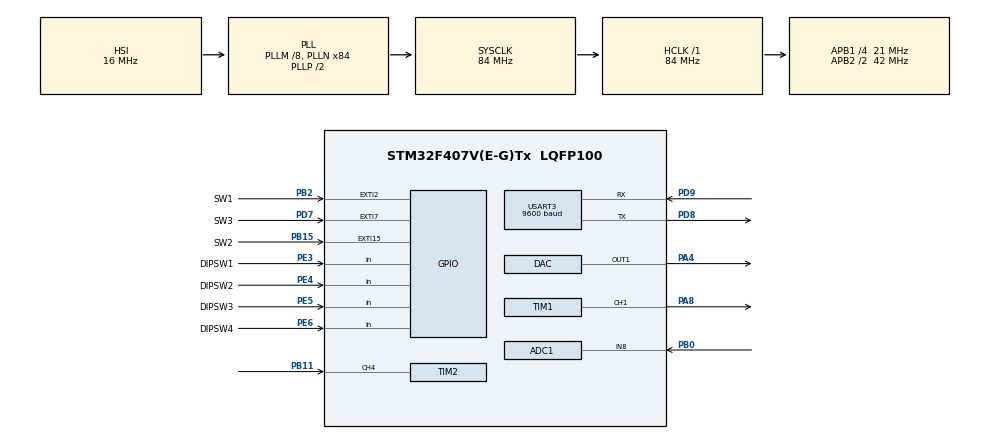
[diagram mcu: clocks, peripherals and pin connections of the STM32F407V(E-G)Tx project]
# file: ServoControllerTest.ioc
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ADC1.Channel-1\#ChannelRegularConversion=ADC_CHANNEL_8
ADC1.NbrOfConversionFlag=1
ADC1.Rank-1\#ChannelRegularConversion=1
ADC1.SamplingTime-1\#ChannelRegularConversion=ADC_SAMPLETIME_3CYCLES
ADC1.master=1
Mcu.Family=STM32F4
Mcu.Name=STM32F407V(E-G)Tx
Mcu.Package=LQFP100
NVIC.EXTI15_10_IRQn=true\:0\:0\:false\:false\:true\:true\:true
NVIC.EXTI2_IRQn=true\:0\:0\:false\:false\:true\:true\:true
NVIC.EXTI9_5_IRQn=true\:0\:0\:false\:false\:true\:true\:true
NVIC.PriorityGroup=NVIC_PRIORITYGROUP_4
NVIC.TIM2_IRQn=true\:0\:0\:false\:false\:true\:true\:true
NVIC.USART3_IRQn=true\:0\:0\:false\:false\:true\:true\:true
PA4.Signal=COMP_DAC1_group
PA8.Signal=S_TIM1_CH1
PB0.Signal=ADCx_IN8
PB11.Signal=S_TIM2_CH4
PB15.GPIO_Label=SW2
PB15.GPIO_ModeDefaultEXTI=GPIO_MODE_IT_FALLING
PB15.Signal=GPXTI15
PB2.GPIO_Label=SW1
PB2.GPIO_ModeDefaultEXTI=GPIO_MODE_IT_FALLING
PB2.Signal=GPXTI2
PD7.GPIO_Label=SW3
PD7.GPIO_ModeDefaultEXTI=GPIO_MODE_IT_FALLING
PD7.Signal=GPXTI7
PD8.Mode=Asynchronous
PD8.Signal=USART3_TX
PD9.Mode=Asynchronous
PD9.Signal=USART3_RX
PE3.GPIO_Label=DIPSW1
PE3.Signal=GPIO_Input
PE4.GPIO_Label=DIPSW2
PE4.Signal=GPIO_Input
PE5.GPIO_Label=DIPSW3
PE5.Signal=GPIO_Input
PE6.GPIO_Label=DIPSW4
PE6.Signal=GPIO_Input
ProjectManager.HeapSize=0x200
ProjectManager.StackSize=0x400
ProjectManager.TargetToolchain=MDK-ARM V5
RCC.48MHZClocksFreq_Value=42000000
RCC.AHBFreq_Value=84000000
RCC.APB1CLKDivider=RCC_HCLK_DIV4
RCC.APB1Freq_Value=21000000
RCC.APB1TimFreq_Value=42000000
RCC.APB2CLKDivider=RCC_HCLK_DIV2
RCC.APB2Freq_Value=42000000
RCC.APB2TimFreq_Value=84000000
RCC.CortexFreq_Value=84000000
RCC.HCLKFreq_Value=84000000
RCC.HSE_VALUE=25000000
RCC.HSI_VALUE=16000000
RCC.LSE_VALUE=32768
RCC.PLLM=8
RCC.PLLN=84
RCC.SYSCLKFreq_VALUE=84000000
RCC.SYSCLKSource=RCC_SYSCLKSOURCE_PLLCLK
RCC.VCOOutputFreq_Value=168000000
SH.ADCx_IN8.0=ADC1_IN8,IN8
SH.COMP_DAC1_group.0=DAC_OUT1,DAC_OUT1
SH.S_TIM1_CH1.0=TIM1_CH1,PWM Generation1 CH1
SH.S_TIM2_CH4.0=TIM2_CH4,Input_Capture4_from_TI4
TIM1.Channel-PWM\ Generation1\ CH1=TIM_CHANNEL_1
TIM1.Period=999
TIM1.Prescaler=84
TIM1.Pulse-PWM\ Generation1\ CH1=0
TIM2.AutoReloadPreload=TIM_AUTORELOAD_PRELOAD_ENABLE
TIM2.Channel-Input_Capture4_from_TI4=TIM_CHANNEL_4
TIM2.ICPolarity_CH4=TIM_INPUTCHANNELPOLARITY_BOTHEDGE
TIM2.Period=65535
TIM2.Prescaler=42
USART3.BaudRate=9600
USART3.VirtualMode=VM_ASYNC
VP_TIM1_VS_ClockSourceINT.Mode=Internal
board=custom

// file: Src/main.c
/* USER CODE BEGIN Header */
/**
  ******************************************************************************
  * @file           : main.c
  * @brief          : Main program body
  ******************************************************************************
  * @attention
  *
  * <h2><center>&copy; Copyright (c) 2019 STMicroelectronics.
  * All rights reserved.</center></h2>
  *
  * This software component is licensed by ST under BSD 3-Clause license,
  * the "License"; You may not use this file except in compliance with the
  * License. You may obtain a copy of the License at:
  *                        opensource.org/licenses/BSD-3-Clause
  *
  ******************************************************************************
  */
/* USER CODE END Header */

#include "main.h"

/* USER CODE BEGIN Includes */
#include <stdio.h>
#include <string.h>
#include "bsp.h"

/* USER CODE END Includes */

/* USER CODE BEGIN PM */
uint16_t Value;
/* USER CODE END PM */

ADC_HandleTypeDef hadc1;

DAC_HandleTypeDef hdac;

TIM_HandleTypeDef htim1;
TIM_HandleTypeDef htim2;

UART_HandleTypeDef huart3;

void SystemClock_Config(void);
static void MX_GPIO_Init(void);
static void MX_TIM1_Init(void);
static void MX_TIM2_Init(void);
static void MX_ADC1_Init(void);
static void MX_DAC_Init(void);
static void MX_USART3_UART_Init(void);

/* USER CODE BEGIN 0 */
int fputc(int ch, FILE *f)
{
  return ITM_SendChar(ch);
}
/* USER CODE END 0 */

int main(void)
{

  /* MCU Configuration--------------------------------------------------------*/

  /* Reset of all peripherals, Initializes the Flash interface and the Systick. */
  HAL_Init();

  /* Configure the system clock */
  SystemClock_Config();

  /* Initialize all configured peripherals */
  MX_GPIO_Init();
  MX_TIM1_Init();
  MX_TIM2_Init();
  MX_ADC1_Init();
  MX_DAC_Init();
  MX_USART3_UART_Init();
  /* USER CODE BEGIN 2 */
  HAL_TIM_Base_Start(&htim1);
  HAL_TIM_PWM_Start(&htim1,TIM_CHANNEL_1);
  HAL_TIM_Base_Start(&htim2);
  HAL_TIM_IC_Start_IT(&htim2, TIM_CHANNEL_4);
  /* USER CODE END 2 */

  /* Infinite loop */
  while (1)
  {

    /* USER CODE BEGIN 3 */
    HAL_Delay(1000);

   if (ButtonSW1_Status || ButtonSW2_Status || ButtonSW3_Status) {

		if (DIPSW1_READ()) {
			PDM_Signal_Gen(&htim1 , TIM_CHANNEL_1, 1999);
		}

		if (DIPSW2_READ()) {
			uint16_t Pulse_Width = Capture_Pulse_Width(&htim2 , TIM_CHANNEL_4);
   		printf("Pulse Width: %d\n", Pulse_Width);
		}

		if (DIPSW3_READ()) {
      Generate_Voltage(&hdac, DAC_CHANNEL_1, DAC_ALIGN_12B_R, (1.5/3.3)*4096);
		}

		if (DIPSW4_READ()) {
      uint16_t analogVal = Read_Voltage(&hadc1);
			printf("Analog value: %d\n", analogVal);
		}

		char txt[] = "Hello, World";
  	if (ButtonSW2_Status) {
			Send_UART(&huart3, txt, strlen(txt));
			printf("Sending Text: %s\n", txt);
		  ButtonSW2_Status = 0;
		}

		if (ButtonSW3_Status) {
			static char Buffer[20];
			uint16_t len_recv = Receive_UART(&huart3, Buffer, strlen(txt));
			printf("Receiving Text: %s , length: %d\n", Buffer, len_recv);
	  	ButtonSW3_Status = 0;
    }

		ButtonSW1_Status = 0;

	 }  // end if button

  }  // end while(1)
  /* USER CODE END 3 */
}

void SystemClock_Config(void)
{
  RCC_OscInitTypeDef RCC_OscInitStruct = {0};
  RCC_ClkInitTypeDef RCC_ClkInitStruct = {0};

  /** Configure the main internal regulator output voltage
  */
  __HAL_RCC_PWR_CLK_ENABLE();
  __HAL_PWR_VOLTAGESCALING_CONFIG(PWR_REGULATOR_VOLTAGE_SCALE1);
  /** Initializes the CPU, AHB and APB busses clocks
  */
  RCC_OscInitStruct.OscillatorType = RCC_OSCILLATORTYPE_HSI;
  RCC_OscInitStruct.HSIState = RCC_HSI_ON;
  RCC_OscInitStruct.HSICalibrationValue = RCC_HSICALIBRATION_DEFAULT;
  RCC_OscInitStruct.PLL.PLLState = RCC_PLL_ON;
  RCC_OscInitStruct.PLL.PLLSource = RCC_PLLSOURCE_HSI;
  RCC_OscInitStruct.PLL.PLLM = 8;
  RCC_OscInitStruct.PLL.PLLN = 84;
  RCC_OscInitStruct.PLL.PLLP = RCC_PLLP_DIV2;
  RCC_OscInitStruct.PLL.PLLQ = 4;
  if (HAL_RCC_OscConfig(&RCC_OscInitStruct) != HAL_OK)
  {
    Error_Handler();
  }
  /** Initializes the CPU, AHB and APB busses clocks
  */
  RCC_ClkInitStruct.ClockType = RCC_CLOCKTYPE_HCLK|RCC_CLOCKTYPE_SYSCLK
                              |RCC_CLOCKTYPE_PCLK1|RCC_CLOCKTYPE_PCLK2;
  RCC_ClkInitStruct.SYSCLKSource = RCC_SYSCLKSOURCE_PLLCLK;
  RCC_ClkInitStruct.AHBCLKDivider = RCC_SYSCLK_DIV1;
  RCC_ClkInitStruct.APB1CLKDivider = RCC_HCLK_DIV4;
  RCC_ClkInitStruct.APB2CLKDivider = RCC_HCLK_DIV2;

  if (HAL_RCC_ClockConfig(&RCC_ClkInitStruct, FLASH_LATENCY_2) != HAL_OK)
  {
    Error_Handler();
  }
}

static void MX_ADC1_Init(void)
{

  ADC_ChannelConfTypeDef sConfig = {0};

  /** Configure the global features of the ADC (Clock, Resolution, Data Alignment and number of conversion)
  */
  hadc1.Instance = ADC1;
  hadc1.Init.ClockPrescaler = ADC_CLOCK_SYNC_PCLK_DIV2;
  hadc1.Init.Resolution = ADC_RESOLUTION_12B;
  hadc1.Init.ScanConvMode = DISABLE;
  hadc1.Init.ContinuousConvMode = DISABLE;
  hadc1.Init.DiscontinuousConvMode = DISABLE;
  hadc1.Init.ExternalTrigConvEdge = ADC_EXTERNALTRIGCONVEDGE_NONE;
  hadc1.Init.ExternalTrigConv = ADC_SOFTWARE_START;
  hadc1.Init.DataAlign = ADC_DATAALIGN_RIGHT;
  hadc1.Init.NbrOfConversion = 1;
  hadc1.Init.DMAContinuousRequests = DISABLE;
  hadc1.Init.EOCSelection = ADC_EOC_SINGLE_CONV;
  if (HAL_ADC_Init(&hadc1) != HAL_OK)
  {
    Error_Handler();
  }
  /** Configure for the selected ADC regular channel its corresponding rank in the sequencer and its sample time.
  */
  sConfig.Channel = ADC_CHANNEL_8;
  sConfig.Rank = 1;
  sConfig.SamplingTime = ADC_SAMPLETIME_3CYCLES;
  if (HAL_ADC_ConfigChannel(&hadc1, &sConfig) != HAL_OK)
  {
    Error_Handler();
  }

}

static void MX_DAC_Init(void)
{

  DAC_ChannelConfTypeDef sConfig = {0};

  /** DAC Initialization
  */
  hdac.Instance = DAC;
  if (HAL_DAC_Init(&hdac) != HAL_OK)
  {
    Error_Handler();
  }
  /** DAC channel OUT1 config
  */
  sConfig.DAC_Trigger = DAC_TRIGGER_NONE;
  sConfig.DAC_OutputBuffer = DAC_OUTPUTBUFFER_ENABLE;
  if (HAL_DAC_ConfigChannel(&hdac, &sConfig, DAC_CHANNEL_1) != HAL_OK)
  {
    Error_Handler();
  }

}

static void MX_TIM1_Init(void)
{

  TIM_ClockConfigTypeDef sClockSourceConfig = {0};
  TIM_MasterConfigTypeDef sMasterConfig = {0};
  TIM_OC_InitTypeDef sConfigOC = {0};
  TIM_BreakDeadTimeConfigTypeDef sBreakDeadTimeConfig = {0};

  htim1.Instance = TIM1;
  htim1.Init.Prescaler = 84;
  htim1.Init.CounterMode = TIM_COUNTERMODE_UP;
  htim1.Init.Period = 999;
  htim1.Init.ClockDivision = TIM_CLOCKDIVISION_DIV1;
  htim1.Init.RepetitionCounter = 0;
  htim1.Init.AutoReloadPreload = TIM_AUTORELOAD_PRELOAD_DISABLE;
  if (HAL_TIM_Base_Init(&htim1) != HAL_OK)
  {
    Error_Handler();
  }
  sClockSourceConfig.ClockSource = TIM_CLOCKSOURCE_INTERNAL;
  if (HAL_TIM_ConfigClockSource(&htim1, &sClockSourceConfig) != HAL_OK)
  {
    Error_Handler();
  }
  if (HAL_TIM_PWM_Init(&htim1) != HAL_OK)
  {
    Error_Handler();
  }
  sMasterConfig.MasterOutputTrigger = TIM_TRGO_RESET;
  sMasterConfig.MasterSlaveMode = TIM_MASTERSLAVEMODE_DISABLE;
  if (HAL_TIMEx_MasterConfigSynchronization(&htim1, &sMasterConfig) != HAL_OK)
  {
    Error_Handler();
  }
  sConfigOC.OCMode = TIM_OCMODE_PWM1;
  sConfigOC.Pulse = 0;
  sConfigOC.OCPolarity = TIM_OCPOLARITY_HIGH;
  sConfigOC.OCNPolarity = TIM_OCNPOLARITY_HIGH;
  sConfigOC.OCFastMode = TIM_OCFAST_DISABLE;
  sConfigOC.OCIdleState = TIM_OCIDLESTATE_RESET;
  sConfigOC.OCNIdleState = TIM_OCNIDLESTATE_RESET;
  if (HAL_TIM_PWM_ConfigChannel(&htim1, &sConfigOC, TIM_CHANNEL_1) != HAL_OK)
  {
    Error_Handler();
  }
  sBreakDeadTimeConfig.OffStateRunMode = TIM_OSSR_DISABLE;
  sBreakDeadTimeConfig.OffStateIDLEMode = TIM_OSSI_DISABLE;
  sBreakDeadTimeConfig.LockLevel = TIM_LOCKLEVEL_OFF;
  sBreakDeadTimeConfig.DeadTime = 0;
  sBreakDeadTimeConfig.BreakState = TIM_BREAK_DISABLE;
  sBreakDeadTimeConfig.BreakPolarity = TIM_BREAKPOLARITY_HIGH;
  sBreakDeadTimeConfig.AutomaticOutput = TIM_AUTOMATICOUTPUT_DISABLE;
  if (HAL_TIMEx_ConfigBreakDeadTime(&htim1, &sBreakDeadTimeConfig) != HAL_OK)
  {
    Error_Handler();
  }
  HAL_TIM_MspPostInit(&htim1);

}

static void MX_TIM2_Init(void)
{

  TIM_MasterConfigTypeDef sMasterConfig = {0};
  TIM_IC_InitTypeDef sConfigIC = {0};

  htim2.Instance = TIM2;
  htim2.Init.Prescaler = 42;
  htim2.Init.CounterMode = TIM_COUNTERMODE_UP;
  htim2.Init.Period = 65535;
  htim2.Init.ClockDivision = TIM_CLOCKDIVISION_DIV1;
  htim2.Init.AutoReloadPreload = TIM_AUTORELOAD_PRELOAD_ENABLE;
  if (HAL_TIM_IC_Init(&htim2) != HAL_OK)
  {
    Error_Handler();
  }
  sMasterConfig.MasterOutputTrigger = TIM_TRGO_RESET;
  sMasterConfig.MasterSlaveMode = TIM_MASTERSLAVEMODE_DISABLE;
  if (HAL_TIMEx_MasterConfigSynchronization(&htim2, &sMasterConfig) != HAL_OK)
  {
    Error_Handler();
  }
  sConfigIC.ICPolarity = TIM_INPUTCHANNELPOLARITY_BOTHEDGE;
  sConfigIC.ICSelection = TIM_ICSELECTION_DIRECTTI;
  sConfigIC.ICPrescaler = TIM_ICPSC_DIV1;
  sConfigIC.ICFilter = 0;
  if (HAL_TIM_IC_ConfigChannel(&htim2, &sConfigIC, TIM_CHANNEL_4) != HAL_OK)
  {
    Error_Handler();
  }

}

static void MX_USART3_UART_Init(void)
{

  huart3.Instance = USART3;
  huart3.Init.BaudRate = 9600;
  huart3.Init.WordLength = UART_WORDLENGTH_8B;
  huart3.Init.StopBits = UART_STOPBITS_1;
  huart3.Init.Parity = UART_PARITY_NONE;
  huart3.Init.Mode = UART_MODE_TX_RX;
  huart3.Init.HwFlowCtl = UART_HWCONTROL_NONE;
  huart3.Init.OverSampling = UART_OVERSAMPLING_16;
  if (HAL_UART_Init(&huart3) != HAL_OK)
  {
    Error_Handler();
  }

}

static void MX_GPIO_Init(void)
{
  GPIO_InitTypeDef GPIO_InitStruct = {0};

  /* GPIO Ports Clock Enable */
  __HAL_RCC_GPIOE_CLK_ENABLE();
  __HAL_RCC_GPIOA_CLK_ENABLE();
  __HAL_RCC_GPIOB_CLK_ENABLE();
  __HAL_RCC_GPIOD_CLK_ENABLE();

  /*Configure GPIO pins : DIPSW1_Pin DIPSW2_Pin DIPSW3_Pin DIPSW4_Pin */
  GPIO_InitStruct.Pin = DIPSW1_Pin|DIPSW2_Pin|DIPSW3_Pin|DIPSW4_Pin;
  GPIO_InitStruct.Mode = GPIO_MODE_INPUT;
  GPIO_InitStruct.Pull = GPIO_NOPULL;
  HAL_GPIO_Init(GPIOE, &GPIO_InitStruct);

  /*Configure GPIO pins : SW1_Pin SW2_Pin */
  GPIO_InitStruct.Pin = SW1_Pin|SW2_Pin;
  GPIO_InitStruct.Mode = GPIO_MODE_IT_FALLING;
  GPIO_InitStruct.Pull = GPIO_NOPULL;
  HAL_GPIO_Init(GPIOB, &GPIO_InitStruct);

  /*Configure GPIO pin : SW3_Pin */
  GPIO_InitStruct.Pin = SW3_Pin;
  GPIO_InitStruct.Mode = GPIO_MODE_IT_FALLING;
  GPIO_InitStruct.Pull = GPIO_NOPULL;
  HAL_GPIO_Init(SW3_GPIO_Port, &GPIO_InitStruct);

  /* EXTI interrupt init*/
  HAL_NVIC_SetPriority(EXTI2_IRQn, 0, 0);
  HAL_NVIC_EnableIRQ(EXTI2_IRQn);

  HAL_NVIC_SetPriority(EXTI9_5_IRQn, 0, 0);
  HAL_NVIC_EnableIRQ(EXTI9_5_IRQn);

  HAL_NVIC_SetPriority(EXTI15_10_IRQn, 0, 0);
  HAL_NVIC_EnableIRQ(EXTI15_10_IRQn);

}

/* USER CODE BEGIN 4 */
void HAL_TIM_IC_CaptureCallback (TIM_HandleTypeDef *htim)
{
  extern uint16_t Value;
  Value = __HAL_TIM_GetCompare(htim, TIM_CHANNEL_4);
  //Value = HAL_TIM_ReadCapturedValue(htim, TIM_CHANNEL_4);
  __HAL_TIM_SetCounter(htim, 0);
}

void HAL_USART_RxCpltCallback(UART_HandleTypeDef *huart)
{
}
/* USER CODE END 4 */

void Error_Handler(void)
{
}

/************************ (C) COPYRIGHT STMicroelectronics *****END OF FILE****/
